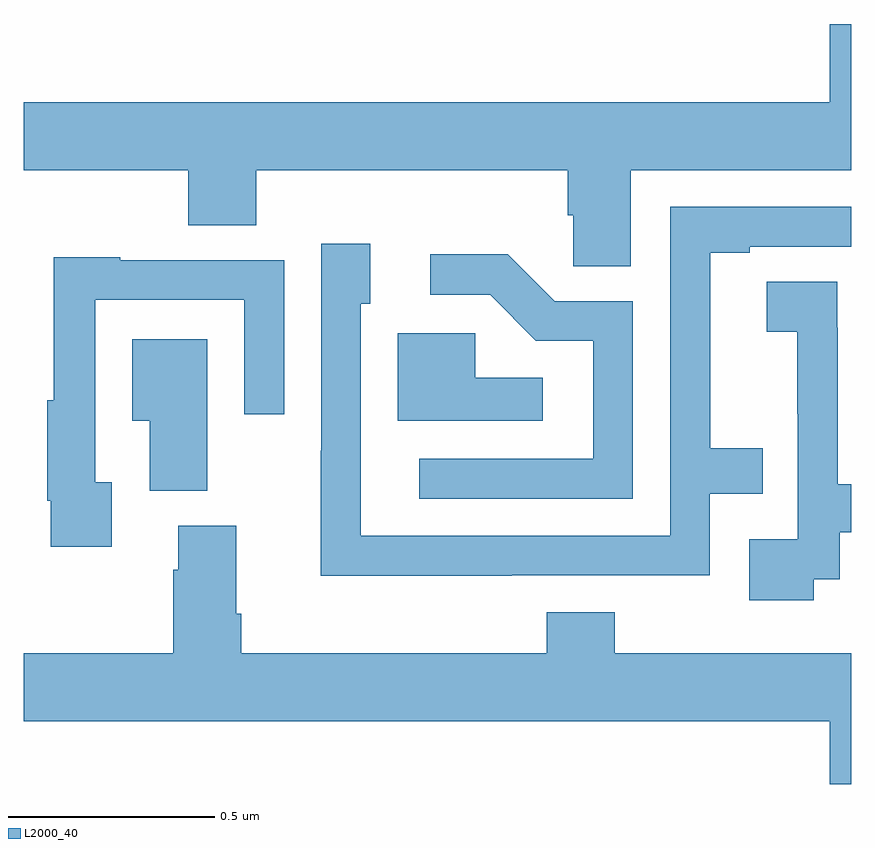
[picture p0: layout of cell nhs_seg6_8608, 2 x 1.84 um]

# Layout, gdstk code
import gdstk
lib = gdstk.Library(unit=1e-6, precision=1e-09)
def P(c, l, *ps):  # polygons
    for p in ps: c.add(gdstk.Polygon(p, *l))
L2000_40 = (2000, 40)

nhs_seg6_8608 = lib.new_cell('nhs_seg6_8608')
P(nhs_seg6_8608, L2000_40, [(224.467,965.984),(225,965.984),(225,966.337),(224.948,966.337),(224.948,966.148),(223,966.148),(223,965.984),(223.397,965.984),(223.397,965.851),(223.562,965.851),(223.562,965.984),(224.315,965.984),(224.315,965.875),(224.328,965.875),(224.328,965.752),(224.467,965.752)],
  [(224.18,965.004),(224.658,965.004),(224.658,965.202),(224.786,965.202),(224.786,965.311),(224.659,965.311),(224.659,965.784),(224.755,965.784),(224.755,965.799),(225,965.799),(225,965.895),(224.562,965.895),(224.562,965.1),(223.815,965.1),(223.815,965.661),(223.837,965.661),(223.837,965.806),(223.719,965.806),(223.719,965.306),(223.718,965.306),(223.718,965.003),(224.18,965.003)],
  [(224.472,965.667),(224.283,965.667),(224.17,965.78),(223.983,965.78),(223.983,965.682),(224.127,965.682),(224.238,965.571),(224.376,965.571),(224.376,965.286),(223.956,965.286),(223.956,965.19),(224.472,965.19)],
  [(223.213,965.229),(223.173,965.229),(223.173,965.67),(223.533,965.67),(223.533,965.394),(223.629,965.394),(223.629,965.766),(223.233,965.766),(223.233,965.773),(223.072,965.773),(223.072,965.427),(223.057,965.427),(223.057,965.185),(223.065,965.185),(223.065,965.073),(223.213,965.073)],
  [(224.91,964.995),(224.972,964.995),(224.972,965.109),(225,965.109),(225,965.225),(224.968,965.225),(224.968,965.603),(224.966,965.603),(224.966,965.714),(224.796,965.714),(224.796,965.593),(224.87,965.593),(224.87,965.395),(224.871,965.395),(224.871,965.091),(224.754,965.091),(224.754,964.944),(224.91,964.944)],
  [(224.254,965.482),(224.091,965.482),(224.091,965.589),(223.904,965.589),(223.904,965.378),(224.254,965.378)],
  [(223.444,965.575),(223.262,965.575),(223.262,965.378),(223.304,965.378),(223.304,965.209),(223.444,965.209)],
  [(225,964.816),(224.429,964.816),(224.429,964.915),(224.264,964.915),(224.264,964.816),(223.526,964.816),(223.526,964.912),(223.513,964.912),(223.513,965.124),(223.373,965.124),(223.373,965.018),(223.361,965.018),(223.361,964.816),(223,964.816),(223,964.652),(224.948,964.652),(224.948,964.5),(225,964.5)])

lib.write_gds('nhs_seg6_8608.gds')
